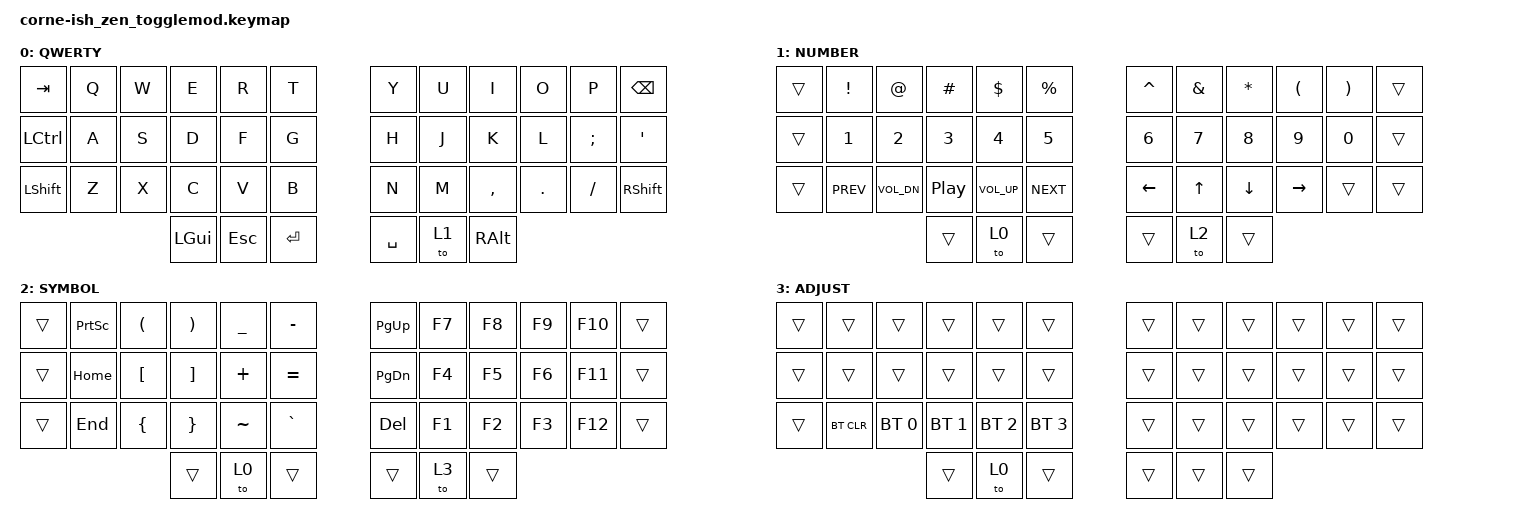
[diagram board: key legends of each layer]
/*
*
* Copyright (c) 2021 Darryl deHaan
* SPDX-License-Identifier: MIT
*
*/

#include <behaviors.dtsi>
#include <dt-bindings/zmk/keys.h>
#include <dt-bindings/zmk/bt.h>

#define QWERTY 0
#define NUMBER 1
#define SYMBOL 2
#define ADJUST 3

/ {
        keymap {
                compatible = "zmk,keymap";

                default_layer {
                        label = "QWERTY";
                        bindings = <
   &kp TAB		&kp Q		&kp W			&kp E			&kp R			&kp T			&kp Y			&kp U   		&kp I			&kp O			&kp P			&kp BSPC
   &kp LCTRL	&kp A		&kp S			&kp D			&kp F			&kp G			&kp H			&kp J   		&kp K			&kp L			&kp SEMI		&kp SQT
   &kp LSHFT	&kp Z		&kp X			&kp C			&kp V			&kp B			&kp N			&kp M   		&kp COMMA		&kp DOT			&kp FSLH		&kp RSHFT
   											&kp LGUI		&kp ESC			&kp RET			&kp SPACE		&to 1			&kp RALT 
                        >;
                };
                lower_layer {
                        label = "NUMBER";
                        bindings = <
   &trans		&kp EXCL	&kp AT			&kp HASH		&kp DLLR		&kp	PRCNT		&kp CARET		&kp AMPS		&kp STAR		&kp LPAR		&kp RPAR 		&trans
   &trans		&kp N1		&kp N2			&kp N3			&kp N4			&kp	N5			&kp N6			&kp N7			&kp N8			&kp N9			&kp N0  		&trans
   &trans		&kp C_PREV	&kp C_VOL_DN	&kp C_PP		&kp C_VOL_UP	&kp C_NEXT		&kp LEFT		&kp UP			&kp DOWN		&kp RIGHT		&trans			&trans
 											&trans			&to 0			&trans			&trans			&to 2			&trans
                        >;

                };

                raise_layer {
                        label = "SYMBOL";
                        bindings = <
   &trans		&kp PSCRN	&kp LPAR		&kp RPAR		&kp UNDER   	&kp MINUS   	&kp PG_UP		&kp F7			&kp F8  		&kp F9  		&kp F10 		&trans
   &trans		&kp HOME	&kp LBKT		&kp RBKT		&kp PLUS    	&kp EQUAL   	&kp PG_DN		&kp F4			&kp F5  		&kp F6  		&kp F11 		&trans
   &trans		&kp END		&kp LBRC		&kp RBRC		&kp TILDE   	&kp GRAVE   	&kp DEL			&kp F1			&kp F2  		&kp F3  		&kp F12 		&trans
											&trans			&to 0			&trans			&trans			&to 3			&trans
                        >;

                };

                adjst_layer {
                        label = "ADJUST";
                        bindings = <
   &trans		&trans		&trans			&trans			&trans			&trans			&trans  		&trans			&trans  		&trans  		&trans  		&trans
   &trans		&trans		&trans			&trans			&trans			&trans			&trans  		&trans			&trans  		&trans  		&trans  		&trans
   &trans		&bt BT_CLR	&bt BT_SEL 0	&bt BT_SEL 1	&bt BT_SEL 2	&bt BT_SEL 3	&trans  		&trans			&trans  		&trans  		&trans  		&trans
											&trans			&to 0			&trans			&trans			&trans			&trans
                        >;
                };

					
        };
};
